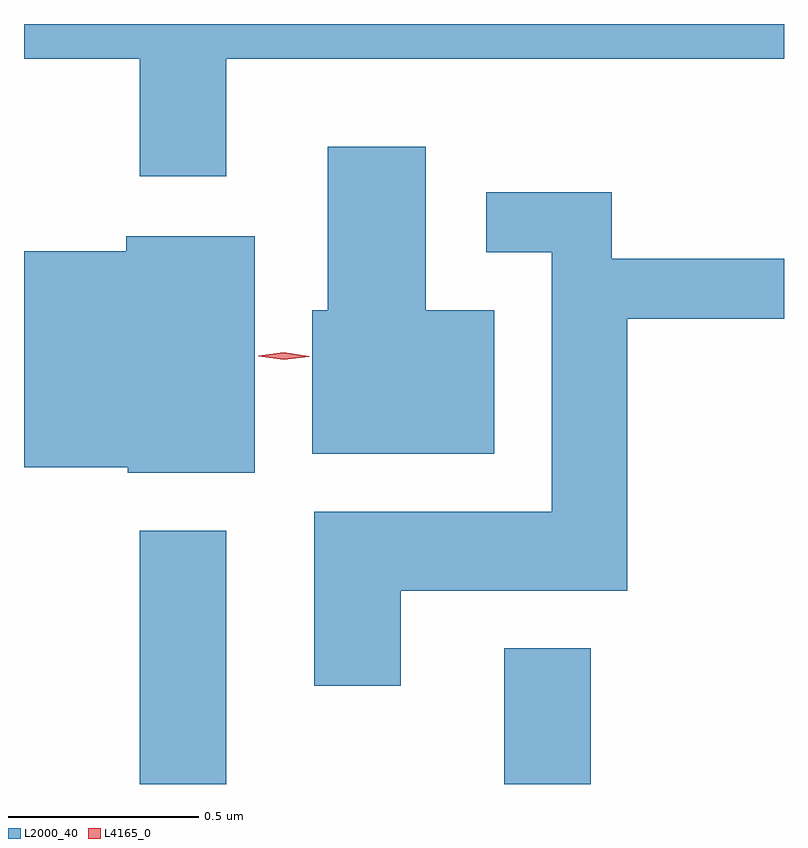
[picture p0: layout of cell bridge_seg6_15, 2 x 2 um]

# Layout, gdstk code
import gdstk
lib = gdstk.Library(unit=1e-6, precision=1e-09)
def R(c, l, rs):  # rectangles x0, y0, x1, y1
    for r in rs: c.add(gdstk.rectangle(r[:2], r[2:], *l))
def P(c, l, *ps):  # polygons
    for p in ps: c.add(gdstk.Polygon(p, *l))
L2000_40 = (2000, 40)
L4165_0 = (4165, 0)

bridge_seg6_15 = lib.new_cell('bridge_seg6_15')
R(bridge_seg6_15, L2000_40, [(1440.021,1603.627,1440.249,1604.294), (1440.981,1603.627,1441.209,1603.984)])
P(bridge_seg6_15, L2000_40, [(1440.249,1605.536),(1441.717,1605.536),(1441.717,1605.627),(1439.717,1605.627),(1439.717,1605.536),(1440.021,1605.536),(1440.021,1605.226),(1440.249,1605.226)],
  [(1440.954,1604.874),(1440.774,1604.874),(1440.774,1605.304),(1440.516,1605.304),(1440.516,1604.874),(1440.476,1604.874),(1440.476,1604.496),(1440.954,1604.496)],
  [(1440.709,1604.136),(1441.304,1604.136),(1441.304,1604.851),(1441.717,1604.851),(1441.717,1605.009),(1441.264,1605.009),(1441.264,1605.184),(1440.933,1605.184),(1440.933,1605.026),(1441.106,1605.026),(1441.106,1604.344),(1440.481,1604.344),(1440.481,1603.886),(1440.709,1603.886)],
  [(1440.324,1605.069),(1439.986,1605.069),(1439.986,1605.029),(1439.717,1605.029),(1439.717,1604.461),(1439.99,1604.461),(1439.99,1604.446),(1440.324,1604.446)])
P(bridge_seg6_15, L4165_0, [(1440.401,1604.743),(1440.335,1604.753),(1440.334,1604.753),(1440.335,1604.754),(1440.401,1604.763),(1440.467,1604.753),(1440.467,1604.753),(1440.467,1604.752)])

lib.write_gds('bridge_seg6_15.gds')
